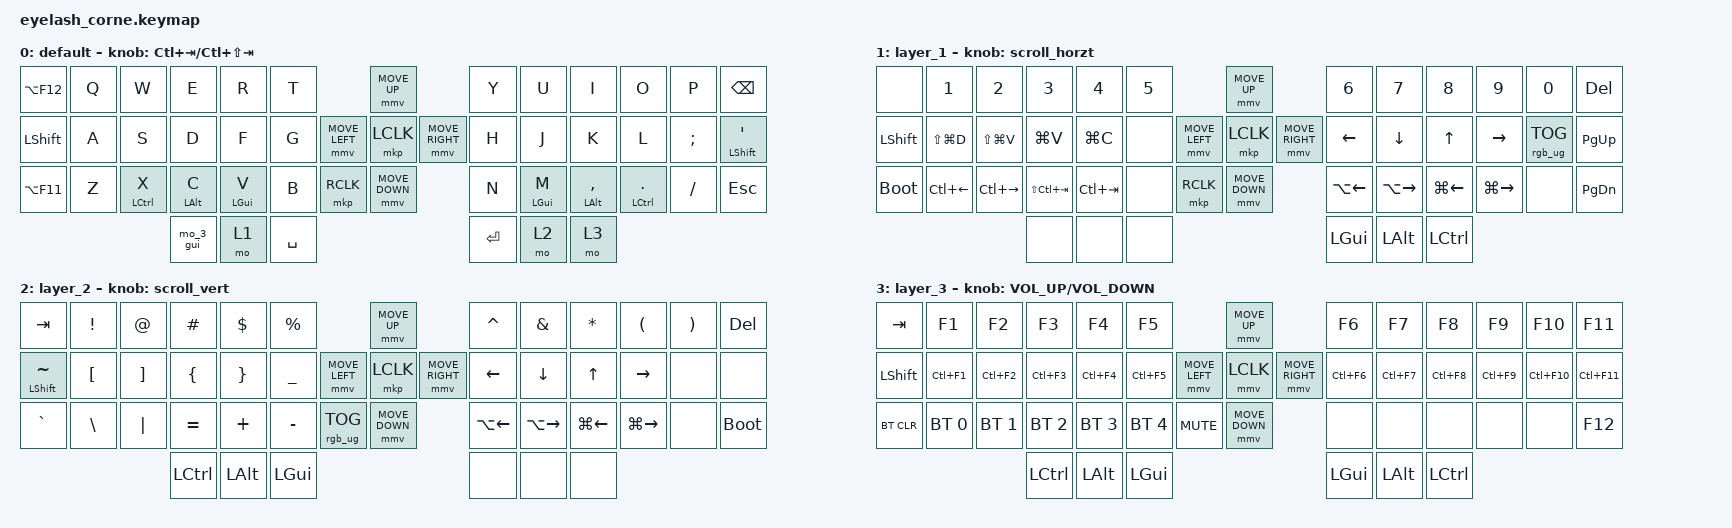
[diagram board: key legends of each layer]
#define ZMK_POINTING_DEFAULT_MOVE_VAL 1000  // default: 600
#define ZMK_POINTING_DEFAULT_SCRL_VAL 80    // default: 10

#include <dt-bindings/zmk/pointing.h>
#include <input/processors.dtsi>
#include <behaviors.dtsi>
#include <dt-bindings/zmk/backlight.h>
#include <dt-bindings/zmk/bt.h>
#include <dt-bindings/zmk/keys.h>
#include <dt-bindings/zmk/rgb.h>

//&mmv_input_listener { input-processors = <&zip_xy_scaler 5 1>; };

&mmv_input_listener {
    mouse_fast {
        layers = <1>;
        input-processors = <&zip_xy_scaler 1 1>;
    };

    mouse_slow {
        layers = <0>;
        input-processors = <&zip_xy_scaler 1 5>;
    };

    mouse_faster {
        layers = <2>;
        input-processors = <&zip_xy_scaler 2 1>;
    };
};

&msc_input_listener { input-processors = <&zip_xy_scaler 4 1>; };

&msc {
    time-to-max-speed-ms = <1>;
    acceleration-exponent = <2>;
};

&mmv {
    x-input-code = <INPUT_REL_X>;
    y-input-code = <INPUT_REL_Y>;
    time-to-max-speed-ms = <1>;
    acceleration-exponent = <5>;
};

/ {
    behaviors {
        hm: homerow_mods {
            compatible = "zmk,behavior-hold-tap";
            #binding-cells = <2>;
            tapping-term-ms = <200>;
            quick-tap-ms = <0>;
            flavor = "tap-preferred";
            bindings = <&kp>, <&kp>;
        };
    };

    rgb_encoder: rgb_encoder {
        compatible = "zmk,behavior-sensor-rotate";
        #sensor-binding-cells = <0>;
        bindings = <&rgb_ug RGB_BRI>, <&rgb_ug RGB_BRD>;
    };

    scroll_horzt: scroll_encoder_horzt {
        compatible = "zmk,behavior-sensor-rotate";
        #sensor-binding-cells = <0>;
        bindings = <&msc SCRL_LEFT>, <&msc SCRL_RIGHT>;
        tap-ms = <50>;
    };

    scroll_vert: scroll_encoder_vert {
        compatible = "zmk,behavior-sensor-rotate";
        #sensor-binding-cells = <0>;
        bindings = <&msc SCRL_UP>, <&msc SCRL_DOWN>;
        tap-ms = <50>;
    };

    macros {
        mo_3_gui: mo_3_gui {
            compatible = "zmk,behavior-macro";
            #binding-cells = <0>;
            bindings =
                <&macro_press>,
                <&mo 3 &kp LEFT_GUI>,
                <&macro_pause_for_release>,
                <&macro_release>,
                <&mo 3 &kp LEFT_GUI>;

            label = "MO_GUI";
        };
    };

    keymap {
        compatible = "zmk,keymap";

        default_layer {
            display-name = "default";
            bindings = <
//  1      |    2|    3      |    4     |    5     |    6     |####                                         ####|    1    |    2     |    3         |    4        |    5   |    6
&kp LA(F12) &kp Q &kp W       &kp E      &kp R      &kp T                      &mmv MOVE_UP                      &kp Y     &kp U      &kp I          &kp O         &kp P    &kp BSPC
&kp LSHIFT  &kp A &kp S       &kp D      &kp F      &kp G       &mmv MOVE_LEFT &mkp LCLK      &mmv MOVE_RIGHT    &kp H     &kp J      &kp K          &kp L         &kp SEMI &mt LSHIFT SQT
&kp LA(F11) &kp Z &hm LCTRL X &hm LALT C &hm LGUI V &kp B       &mkp RCLK      &mmv MOVE_DOWN                    &kp N     &hm LGUI M &hm LALT COMMA &hm LCTRL DOT &kp FSLH &kp ESC
                              &mo_3_gui  &mo 1      &kp SPACE                                                    &kp ENTER &mo 2      &mo 3
            >;
            sensor-bindings = <&inc_dec_kp LC(TAB) LC(LS(TAB))>;
        };

        layer_1 {
            display-name = "layer_1";
            bindings = <
//  1      |    2        |    3        |    4          |    5      |    6  |####                                       ####|     1         |    2         |    3        |    4        |    5          |    6
&none       &kp N1        &kp N2        &kp N3          &kp N4      &kp N5                   &mmv MOVE_UP                    &kp N6         &kp N7         &kp N8        &kp N9        &kp N0          &kp DEL
&kp LSHIFT  &kp LS(LG(D)) &kp LS(LG(V)) &kp LG(V)       &kp LG(C)   &none    &mmv MOVE_LEFT  &mkp LCLK      &mmv MOVE_RIGHT  &kp LEFT_ARROW &kp DOWN_ARROW &kp UP_ARROW  &kp RIGHT     &rgb_ug RGB_TOG &kp PG_UP
&bootloader &kp LC(LEFT)  &kp LC(RIGHT) &kp LS(LC(TAB)) &kp LC(TAB) &none    &mkp RCLK       &mmv MOVE_DOWN                  &kp LA(LEFT)   &kp LA(RIGHT)  &kp LG(LEFT)  &kp LG(RIGHT) &none           &kp PG_DN
                                        &none           &none       &none                                                    &kp LGUI       &kp LALT       &kp LCTRL
            >;
            sensor-bindings = <&scroll_horzt>;
        };

        layer_2 {
            display-name = "layer_2";
            bindings = <
//  1           |    2           |    3            |    4         |    5          |    6          |####                                         ####|     1             |    2        |    3             |    4              |    5   |    6
&kp TAB          &kp EXCL         &kp AT            &kp HASH       &kp DLLR        &kp PRCNT                         &mmv MOVE_UP                    &kp CARET          &kp AMPS      &kp ASTRK          &kp LPAR            &kp RPAR &kp DEL
&mt LSHIFT TILDE &kp LEFT_BRACKET &kp RIGHT_BRACKET &kp LEFT_BRACE &kp RIGHT_BRACE &kp UNDERSCORE   &mmv MOVE_LEFT   &mkp LCLK      &mmv MOVE_RIGHT  &kp LEFT           &kp DOWN      &kp UP             &kp RIGHT           &none    &none
&kp GRAVE        &kp BACKSLASH    &kp PIPE          &kp EQUAL      &kp PLUS        &kp MINUS        &rgb_ug RGB_TOG  &mmv MOVE_DOWN                  &kp LA(LEFT_ARROW) &kp LA(RIGHT) &kp LG(LEFT_ARROW) &kp LG(RIGHT_ARROW) &none    &bootloader
                                                    &kp LCTRL      &kp LALT        &kp LGUI                                                          &none              &none         &none
            >;
            sensor-bindings = <&scroll_vert>;
        };

        layer_3 {
            display-name = "layer_3";
            bindings = <
//  1     |    2       |    3       |    4       |    5       |    6        |####                                        ####|     1     |    2    |    3     |     4    |     5     |    6
&kp TAB    &kp F1       &kp F2       &kp F3       &kp F4       &kp F5                        &mmv MOVE_UP                     &kp F6     &kp F7     &kp F8     &kp F9     &kp F10     &kp F11
&kp LSHIFT &kp LC(F1)   &kp LC(F2)   &kp LC(F3)   &kp LC(F4)   &kp LC(F5)     &mmv MOVE_LEFT &mmv LCLK      &mmv MOVE_RIGHT   &kp LC(F6) &kp LC(F7) &kp LC(F8) &kp LC(F9) &kp LC(F10) &kp LC(F11)
&bt BT_CLR &bt BT_SEL 0 &bt BT_SEL 1 &bt BT_SEL 2 &bt BT_SEL 3 &bt BT_SEL 4   &kp C_MUTE     &mmv MOVE_DOWN                   &none      &none      &none      &none      &none       &kp F12
                                     &kp LCTRL    &kp LALT     &kp LGUI                                                       &kp LGUI   &kp LALT   &kp LCTRL
            >;
            sensor-bindings = <&inc_dec_kp C_VOLUME_UP C_VOLUME_DOWN>;
        };
    };
};
